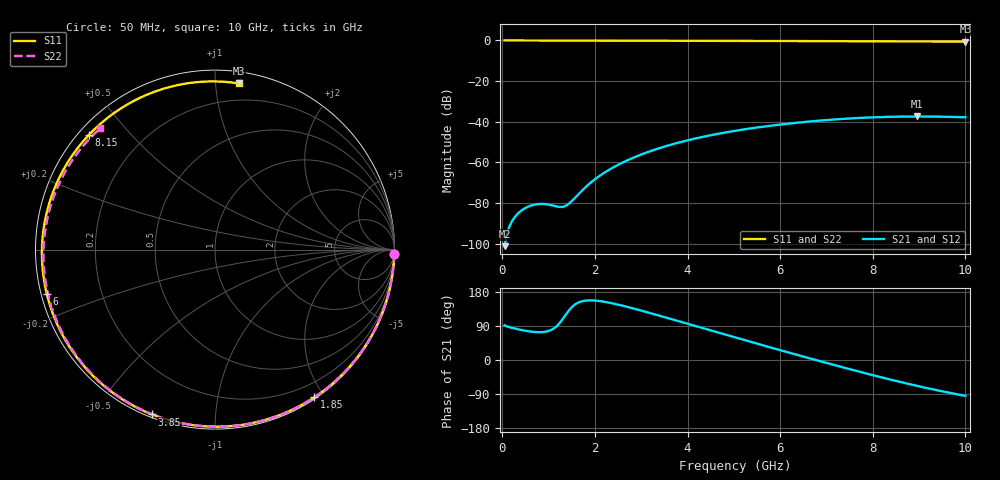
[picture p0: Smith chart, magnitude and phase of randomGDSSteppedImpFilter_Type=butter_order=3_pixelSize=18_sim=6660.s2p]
! freq	dB(S11)	phase(S11)	dB(S12)	phase(S12)
!  dB(S21)	phase(S21)	dB(S22)	phase(S22)
!S-par simulation data
#  GHz  S  DB  R 50
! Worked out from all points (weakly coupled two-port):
!   200 points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, 50 MHz to 10 GHz, reference 50 ohm
!   highest |S21| = -37.40 dB at 8.95 GHz (marker M1); lowest = -101.2 dB at 50 MHz (marker M2)
!   lowest |S11| = -0.6 dB at 10 GHz (marker M3), VSWR 29.94, Z = 3.88 + j57.4 ohm
!   |S11| at or under -10 dB: nowhere
!   |S22| runs from -0.6 to 0.0 dB; largest |S21 - S12| = 0
!   S11 on the Smith chart (normalised r, x): 50 MHz: 1, -76; 1.85 GHz: 0.02, -1.88; 3.85 GHz: 0.01, -0.69; 6 GHz: 0.02, -0.13; 8.15 GHz: 0.03, +0.39; 10 GHz: 0.08, +1.15
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0.05  -0.00 -1.5  -101.18 91.5  -101.18 91.5  -0.00 -1.3
0.7  -0.03 -21.7  -80.74 73.8  -80.74 73.8  -0.02 -18.6
1.05  -0.04 -32.3  -80.97 79.0  -80.97 79.0  -0.04 -27.8
1.45  -0.06 -44.3  -80.05 132.5  -80.05 132.5  -0.05 -38.1
1.75  -0.07 -53.2  -73.17 155.8  -73.17 155.8  -0.06 -45.7
1.85  -0.07 -56.1  -71.07 157.3  -71.07 157.3  -0.06 -48.2
2.15  -0.08 -64.8  -65.84 154.7  -65.84 154.7  -0.07 -55.7
2.5  -0.09 -74.6  -61.16 146.1  -61.16 146.1  -0.08 -64.2
2.9  -0.11 -85.7  -56.99 133.7  -56.99 133.7  -0.09 -73.7
3.4  -0.13 -99.2  -52.92 116.7  -52.92 116.7  -0.11 -85.3
3.85  -0.15 -111.0  -49.98 100.9  -49.98 100.9  -0.13 -95.4
4.45  -0.18 -126.3  -46.84 79.7  -46.84 79.7  -0.15 -108.5
5.05  -0.21 -141.4  -44.36 58.6  -44.36 58.6  -0.18 -121.2
5.55  -0.24 -154.0  -42.66 41.3  -42.66 41.3  -0.21 -131.6
6  -0.27 -165.2  -41.37 25.9  -41.37 25.9  -0.24 -140.8
6.7  -0.33 176.9  -39.73 2.3  -39.73 2.3  -0.29 -155.0
7.4  -0.38 158.5  -38.51 -20.9  -38.51 -20.9  -0.35 -169.2
8.15  -0.45 137.9  -37.70 -44.6  -37.70 -44.6  -0.42 175.2
8.35  -0.46 132.1  -37.57 -50.7  -37.57 -50.7  -0.44 170.9
8.95  -0.51 114.5  -37.40 -68.1  -37.40 -68.1  -0.50 157.8
9.5  -0.55 97.7  -37.51 -82.6  -37.51 -82.6  -0.57 145.3
10  -0.58 81.9  -37.77 -94.6  -37.77 -94.6  -0.63 133.5
